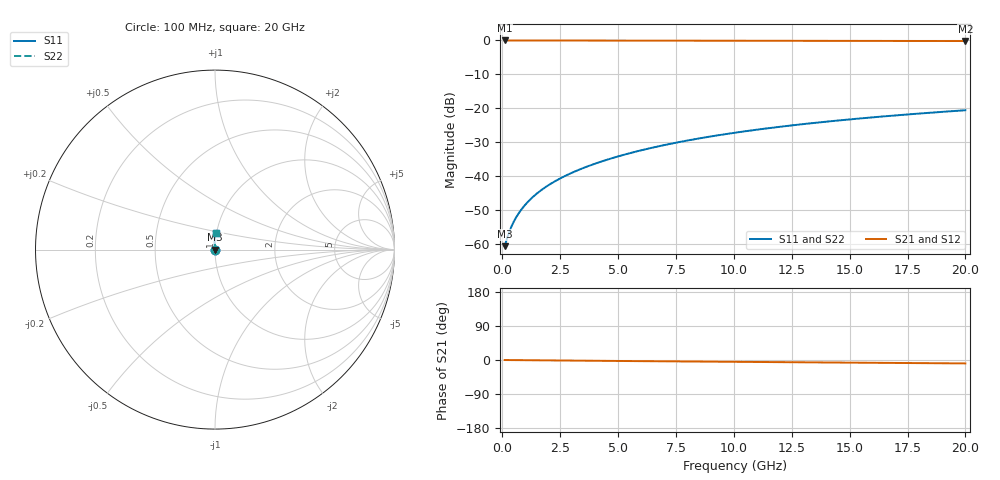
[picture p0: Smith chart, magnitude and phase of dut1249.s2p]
! Touchstone file exported from HFSS 2024.1.0
!  File:  C:/UserFiles/LocalFiles/RDL_TSV_Batchsim/temp_RDL_top_1249_1780241352.aedt
!  Generated:  11:31:23 PM May 31, 2026
!  Design:  RDL_top
!  Project:  temp_RDL_top_1249_1780241352
!  Setup:  Setup1
!  Solution:  Sweep
! Variables:
!  dtsv = 10.80580581um
!  hbump = 3um
!  htsv = 82.54um
!  ldown = 100um
!  lrdl = 105.28um
!  p = 40
!  p1 = 49.51um
!  rhole = 1um
!  t = 450um
!  tdown = 3.915915916um
!  trdl = 2.72um
!  wdown = 15.38538539um
!  wrdl = 29.69um
# GHz S MA R 50.000000
! Terminal data exported
! Port[1] = Box2_T1
! Port[2] = Box2_T2
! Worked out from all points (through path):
!   200 points, 100 MHz to 20 GHz, reference 50 ohm
!   highest |S21| = -0.01 dB at 100 MHz (marker M1); lowest = -0.2 dB at 20 GHz (marker M2)
!   group delay of S21, straight-line fit = 1.24 ps
!   lowest |S11| = -60.8 dB at 100 MHz (marker M3), VSWR 1.00, Z = 50.1 + j0.0417 ohm
!   |S11| at or under -10 dB: start of sweep to end of sweep
!   |S22| runs from -60.8 to -20.6 dB; largest |S21 - S12| = 3e-15
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0.1  0.0009168 27.0  0.9992 -0.1  0.9992 -0.1  0.0009168 27.0
! Gamma 0 0 0 0
! Port Impedance 50 0 50 0
0.3  0.001485 53.4  0.9991 -0.2  0.9991 -0.2  0.001485 53.4
0.4  0.001803 59.6  0.999 -0.2  0.999 -0.2  0.001803 59.6
0.5  0.002125 64.0  0.999 -0.3  0.999 -0.3  0.002125 64.0
0.6  0.002448 67.4  0.9989 -0.3  0.9989 -0.3  0.002448 67.4
0.8  0.003106 72.4  0.9989 -0.4  0.9989 -0.4  0.003106 72.4
1  0.003778 76.0  0.9988 -0.5  0.9988 -0.5  0.003778 76.0
1.2  0.004463 78.7  0.9987 -0.6  0.9987 -0.6  0.004463 78.7
1.7  0.006225 83.3  0.9984 -0.9  0.9984 -0.9  0.006225 83.3
2.2  0.008049 86.2  0.9981 -1.2  0.9981 -1.2  0.008049 86.2
2.8  0.01032 88.6  0.9976 -1.5  0.9976 -1.5  0.01032 88.6
3.5  0.01308 90.6  0.9969 -1.8  0.9969 -1.8  0.01308 90.6
4.2  0.01596 92.0  0.9961 -2.2  0.9961 -2.2  0.01596 92.0
5  0.01939 93.0  0.9952 -2.6  0.9952 -2.6  0.01939 93.0
5.9  0.02342 93.7  0.9941 -3.0  0.9941 -3.0  0.02342 93.7
6.8  0.02759 94.0  0.9929 -3.4  0.9929 -3.4  0.02759 94.0
8.4  0.03526 93.9  0.991 -4.1  0.991 -4.1  0.03526 93.9
10.1  0.04364 93.2  0.989 -4.9  0.989 -4.9  0.04364 93.2
11.7  0.05165 92.4  0.9872 -5.6  0.9872 -5.6  0.05165 92.4
13.4  0.0602 91.3  0.9855 -6.3  0.9855 -6.3  0.0602 91.3
16.7  0.07676 89.2  0.9825 -7.7  0.9825 -7.7  0.07676 89.2
20  0.09317 87.1  0.9796 -9.0  0.9796 -9.0  0.09317 87.1
